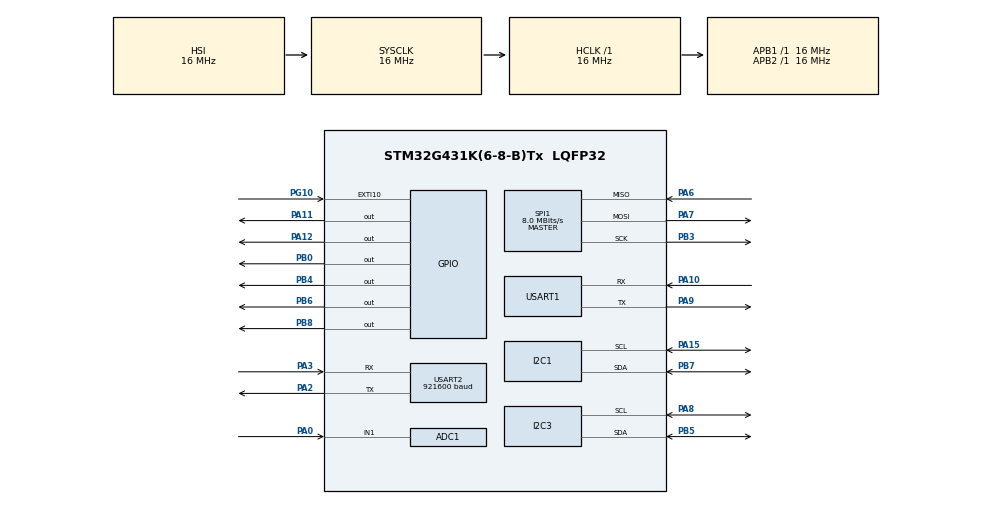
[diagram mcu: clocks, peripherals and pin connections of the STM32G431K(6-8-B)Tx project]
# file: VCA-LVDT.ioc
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ADC1.Channel-0\#ChannelRegularConversion=ADC_CHANNEL_1
ADC1.NbrOfConversionFlag=1
ADC1.OffsetNumber-0\#ChannelRegularConversion=ADC_OFFSET_NONE
ADC1.Rank-0\#ChannelRegularConversion=1
ADC1.SamplingTime-0\#ChannelRegularConversion=ADC_SAMPLETIME_2CYCLES_5
ADC1.master=1
Dma.Request0=USART2_TX
Dma.USART2_TX.0.Direction=DMA_MEMORY_TO_PERIPH
Dma.USART2_TX.0.EventEnable=DISABLE
Dma.USART2_TX.0.Instance=DMA1_Channel1
Dma.USART2_TX.0.MemDataAlignment=DMA_MDATAALIGN_BYTE
Dma.USART2_TX.0.MemInc=DMA_MINC_ENABLE
Dma.USART2_TX.0.Mode=DMA_NORMAL
Dma.USART2_TX.0.PeriphDataAlignment=DMA_PDATAALIGN_BYTE
Dma.USART2_TX.0.PeriphInc=DMA_PINC_DISABLE
Dma.USART2_TX.0.Polarity=HAL_DMAMUX_REQ_GEN_RISING
Dma.USART2_TX.0.Priority=DMA_PRIORITY_MEDIUM
Dma.USART2_TX.0.RequestNumber=1
Dma.USART2_TX.0.SignalID=NONE
Dma.USART2_TX.0.SyncEnable=DISABLE
Dma.USART2_TX.0.SyncPolarity=HAL_DMAMUX_SYNC_NO_EVENT
Dma.USART2_TX.0.SyncRequestNumber=1
Dma.USART2_TX.0.SyncSignalID=NONE
FREERTOS.Tasks01=defaultTask,24,128,StartDefaultTask,Default,NULL,Dynamic,NULL,NULL
I2C1.Timing=0x00503D58
I2C3.Timing=0x00503D58
Mcu.Family=STM32G4
Mcu.Name=STM32G431K(6-8-B)Tx
Mcu.Package=LQFP32
NVIC.DMA1_Channel1_IRQn=true\:5\:0\:false\:false\:true\:true\:false\:true\:true
NVIC.PriorityGroup=NVIC_PRIORITYGROUP_4
NVIC.TIM8_UP_IRQn=true\:15\:0\:false\:false\:true\:false\:false\:true\:true
NVIC.TimeBase=TIM8_UP_IRQn
NVIC.TimeBaseIP=TIM8
PA0.Mode=IN1-Single-Ended
PA0.Signal=ADC1_IN1
PA10.Mode=Asynchronous
PA10.Signal=USART1_RX
PA11.Signal=GPIO_Output
PA12.Signal=GPIO_Output
PA13.Mode=Serial_Wire
PA13.Signal=SYS_JTMS-SWDIO
PA14.Mode=Serial_Wire
PA14.Signal=SYS_JTCK-SWCLK
PA15.Mode=I2C
PA15.Signal=I2C1_SCL
PA2.Mode=Asynchronous
PA2.Signal=USART2_TX
PA3.Mode=Asynchronous
PA3.Signal=USART2_RX
PA4.Signal=COMP_DAC11_group
PA6.Mode=Full_Duplex_Master
PA6.Signal=SPI1_MISO
PA7.Mode=Full_Duplex_Master
PA7.Signal=SPI1_MOSI
PA8.Mode=I2C
PA8.Signal=I2C3_SCL
PA9.Mode=Asynchronous
PA9.Signal=USART1_TX
PB0.Signal=GPIO_Output
PB3.Mode=Full_Duplex_Master
PB3.Signal=SPI1_SCK
PB4.Signal=GPIO_Output
PB5.Mode=I2C
PB5.Signal=I2C3_SDA
PB6.Signal=GPIO_Output
PB7.Mode=I2C
PB7.Signal=I2C1_SDA
PB8-BOOT0.Signal=GPIO_Output
PF0-OSC_IN.Mode=HSE-External-Oscillator
PF0-OSC_IN.Signal=RCC_OSC_IN
PF1-OSC_OUT.Mode=HSE-External-Oscillator
PF1-OSC_OUT.Signal=RCC_OSC_OUT
PG10-NRST.Signal=GPXTI10
ProjectManager.HeapSize=0x200
ProjectManager.StackSize=0x400
ProjectManager.TargetToolchain=STM32CubeIDE
RCC.AHBFreq_Value=16000000
RCC.APB1Freq_Value=16000000
RCC.APB1TimFreq_Value=16000000
RCC.APB2Freq_Value=16000000
RCC.APB2TimFreq_Value=16000000
RCC.CortexFreq_Value=16000000
RCC.EXTERNAL_CLOCK_VALUE=12288000
RCC.HCLKFreq_Value=16000000
RCC.HSE_VALUE=8000000
RCC.HSI48_VALUE=48000000
RCC.HSI_VALUE=16000000
RCC.LSE_VALUE=32768
RCC.SYSCLKFreq_VALUE=16000000
RCC.USBFreq_Value=64000000
RCC.VCOOutputFreq_Value=128000000
SH.COMP_DAC11_group.0=DAC1_OUT1
SPI1.CalculateBaudRate=8.0 MBits/s
SPI1.DataSize=SPI_DATASIZE_16BIT
SPI1.Direction=SPI_DIRECTION_2LINES
SPI1.Mode=SPI_MODE_MASTER
SPI1.VirtualType=VM_MASTER
USART1.VirtualMode-Asynchronous=VM_ASYNC
USART2.BaudRate=921600
USART2.VirtualMode-Asynchronous=VM_ASYNC
VP_FREERTOS_VS_CMSIS_V2.Mode=CMSIS_V2
VP_SYS_VS_DBSignals.Mode=DisableDeadBatterySignals
VP_SYS_VS_tim8.Mode=TIM8
board=custom

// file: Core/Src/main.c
/* USER CODE BEGIN Header */
/**
  ******************************************************************************
  * @file           : main.c
  * @brief          : Main program body
  ******************************************************************************
  * @attention
  *
  * Copyright (c) 2025 STMicroelectronics.
  * All rights reserved.
  *
  * This software is licensed under terms that can be found in the LICENSE file
  * in the root directory of this software component.
  * If no LICENSE file comes with this software, it is provided AS-IS.
  *
  ******************************************************************************
  */
/* USER CODE END Header */
#include "main.h"
#include "cmsis_os.h"
#include "adc.h"
#include "dma.h"
#include "i2c.h"
#include "spi.h"
#include "usart.h"
#include "gpio.h"

/* USER CODE BEGIN Includes */
#include "app_freertos.h"

/* USER CODE END Includes */

/* USER CODE BEGIN PTD */
extern char uart_rx_buf[6];

/* USER CODE END PTD */

void SystemClock_Config(void);
void MX_FREERTOS_Init(void);

int main(void)
{

  /* MCU Configuration--------------------------------------------------------*/

  /* Reset of all peripherals, Initializes the Flash interface and the Systick. */
  HAL_Init();

  /* Configure the system clock */
  SystemClock_Config();

  /* Initialize all configured peripherals */
  MX_GPIO_Init();
  MX_DMA_Init();
  MX_I2C1_Init();
  MX_SPI1_Init();
  MX_USART1_UART_Init();
  MX_USART2_UART_Init();
  MX_ADC1_Init();
  MX_I2C3_Init();
  /* USER CODE BEGIN 2 */
  HAL_UART_Receive_IT(&huart1, (uint8_t*)uart_rx_buf, 5);

  /* USER CODE END 2 */

  /* Init scheduler */
  osKernelInitialize();  /* Call init function for freertos objects (in cmsis_os2.c) */
  MX_FREERTOS_Init();

  /* Start scheduler */
  osKernelStart();

  /* We should never get here as control is now taken by the scheduler */

  /* Infinite loop */
  while (1)
  {

  }
}

void SystemClock_Config(void)
{
  RCC_OscInitTypeDef RCC_OscInitStruct = {0};
  RCC_ClkInitTypeDef RCC_ClkInitStruct = {0};

  /** Configure the main internal regulator output voltage
  */
  HAL_PWREx_ControlVoltageScaling(PWR_REGULATOR_VOLTAGE_SCALE1);

  /** Initializes the RCC Oscillators according to the specified parameters
  * in the RCC_OscInitTypeDef structure.
  */
  RCC_OscInitStruct.OscillatorType = RCC_OSCILLATORTYPE_HSI;
  RCC_OscInitStruct.HSIState = RCC_HSI_ON;
  RCC_OscInitStruct.HSICalibrationValue = RCC_HSICALIBRATION_DEFAULT;
  RCC_OscInitStruct.PLL.PLLState = RCC_PLL_NONE;
  if (HAL_RCC_OscConfig(&RCC_OscInitStruct) != HAL_OK)
  {
    Error_Handler();
  }

  /** Initializes the CPU, AHB and APB buses clocks
  */
  RCC_ClkInitStruct.ClockType = RCC_CLOCKTYPE_HCLK|RCC_CLOCKTYPE_SYSCLK
                              |RCC_CLOCKTYPE_PCLK1|RCC_CLOCKTYPE_PCLK2;
  RCC_ClkInitStruct.SYSCLKSource = RCC_SYSCLKSOURCE_HSI;
  RCC_ClkInitStruct.AHBCLKDivider = RCC_SYSCLK_DIV1;
  RCC_ClkInitStruct.APB1CLKDivider = RCC_HCLK_DIV1;
  RCC_ClkInitStruct.APB2CLKDivider = RCC_HCLK_DIV1;

  if (HAL_RCC_ClockConfig(&RCC_ClkInitStruct, FLASH_LATENCY_0) != HAL_OK)
  {
    Error_Handler();
  }
}

void HAL_TIM_PeriodElapsedCallback(TIM_HandleTypeDef *htim)
{
  if (htim->Instance == TIM8)
  {
    HAL_IncTick();
  }
}

void Error_Handler(void)
{
  __disable_irq();
  while (1)
  {
  }
}

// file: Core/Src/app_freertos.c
/* USER CODE BEGIN Header */
/**
  ******************************************************************************
  * File Name          : app_freertos.c
  * Description        : Code for freertos applications
  ******************************************************************************
  * @attention
  *
  * Copyright (c) 2025 STMicroelectronics.
  * All rights reserved.
  *
  * This software is licensed under terms that can be found in the LICENSE file
  * in the root directory of this software component.
  * If no LICENSE file comes with this software, it is provided AS-IS.
  *
  ******************************************************************************
  */
/* USER CODE END Header */

#include "FreeRTOS.h"
#include "task.h"
#include "main.h"
#include "cmsis_os.h"

/* USER CODE BEGIN Includes */
// FreeRTOS 헤더
#include "cmsis_os.h"
#include "control_vars.h"  // 변수 정의는 control_vars.c 안에 있음
#include <stdio.h>  // snprintf
#include "telemetry.h"

float position_output = 0.0f;
float current_output = 0.0f;

// Task 핸들
osThreadId_t CurrentLoopTaskHandle;
osThreadId_t PositionLoopTaskHandle;

extern void MCP4922_WriteChannelA(uint16_t val);
extern float ADS1115_ReadVoltage(uint8_t channel);
extern uint16_t Read_CurrentADC(void);

extern void InitControlVars(void);
extern ControlParams_t controlParams;

extern UART_HandleTypeDef huart2;

float adc_to_current(uint16_t adc);  // 함수 선언 추가

// UART 송신용 버퍼
char uart_buffer[128];

float adc_to_current(uint16_t adc) {
    return ((float)adc * 3.3f / 4096.0f - 1.65f) / (10.0f * 0.25f);
}

// telemetry task
void UartTelemetryTask(void *argument) {
    for (;;) {
        float pos_set = controlParams.position_setpoint;
        float pos = ADS1115_ReadVoltage(1) * controlParams.position_scale;
        float cur_set = controlParams.current_setpoint;
        float cur_fb = adc_to_current(Read_CurrentADC());
        float ctrl_V = cur_set * 10.0f * 0.25f + 1.65f;

        SendTelemetryPacket(pos_set, pos, cur_set, cur_fb, ctrl_V, position_output, current_output);

        osDelay(20);  // 50Hz
    }
}

// PID 변수

// 1kHz 전류 루프
void CurrentLoopTask(void *argument) {
    for (;;) {
        uint16_t adc_val = Read_CurrentADC();
        float feedback_current = adc_to_current(adc_val);

        float error = controlParams.current_setpoint - feedback_current;
        controlParams.current_loop.integral += error * 0.001f;  // 1 ms 주기
        float control_voltage = controlParams.current_loop.Kp * error +
                                controlParams.current_loop.Ki * controlParams.current_loop.integral;

        current_output = control_voltage;  // 전류 루프 PI 출력 저장

        if (control_voltage < 0) control_voltage = 0;
        if (control_voltage > 3.3f) control_voltage = 3.3f;

        uint16_t dac_val = (uint16_t)((control_voltage / 3.3f) * 4095.0f);
        MCP4922_WriteChannelA(dac_val);

        osDelay(1);  // 1ms 주기
    }
}

// 200Hz 위치 루프
void PositionLoopTask(void *argument) {
    for (;;) {
        float voltage = ADS1115_ReadVoltage(1);  // AIN1
        float position = voltage * controlParams.position_scale;
        float error = controlParams.position_setpoint - position;
        controlParams.position_loop.integral += error * 0.005f;  // 5ms 주기
        controlParams.current_setpoint = controlParams.position_loop.Kp * error +
                                         controlParams.position_loop.Ki * controlParams.position_loop.integral;

        position_output = controlParams.current_setpoint;  // 위치 루프 PI 출력 저장

        osDelay(5);  // 5ms 주기
    }
}

// FreeRTOS task 생성
osThreadId_t TelemetryTaskHandle;

void StartControlTasks(void) {
    const osThreadAttr_t attr1 = {.name = "CurrentLoopTask", .priority = osPriorityHigh, .stack_size = 512};
    const osThreadAttr_t attr2 = {.name = "PositionLoopTask", .priority = osPriorityNormal, .stack_size = 512};
    const osThreadAttr_t attr3 = {.name = "UartTelemetryTask", .priority = osPriorityLow, .stack_size = 512};

    CurrentLoopTaskHandle = osThreadNew(CurrentLoopTask, NULL, &attr1);
    PositionLoopTaskHandle = osThreadNew(PositionLoopTask, NULL, &attr2);
    TelemetryTaskHandle = osThreadNew(UartTelemetryTask, NULL, &attr3);
}

/* USER CODE END Includes */

/* Definitions for defaultTask */
osThreadId_t defaultTaskHandle;
const osThreadAttr_t defaultTask_attributes = {
  .name = "defaultTask",
  .priority = (osPriority_t) osPriorityNormal,
  .stack_size = 128 * 4
};

void StartDefaultTask(void *argument);

void MX_FREERTOS_Init(void); /* (MISRA C 2004 rule 8.1) */

void MX_FREERTOS_Init(void) {
  /* USER CODE BEGIN Init */
//	InitControlVars();  // 초기 제어 파라미터 설정
  /* USER CODE END Init */

  /* Create the thread(s) */
  /* creation of defaultTask */
  defaultTaskHandle = osThreadNew(StartDefaultTask, NULL, &defaultTask_attributes);

}

void StartDefaultTask(void *argument)
{
  for(;;)
  {
    osDelay(1);
  }
}
